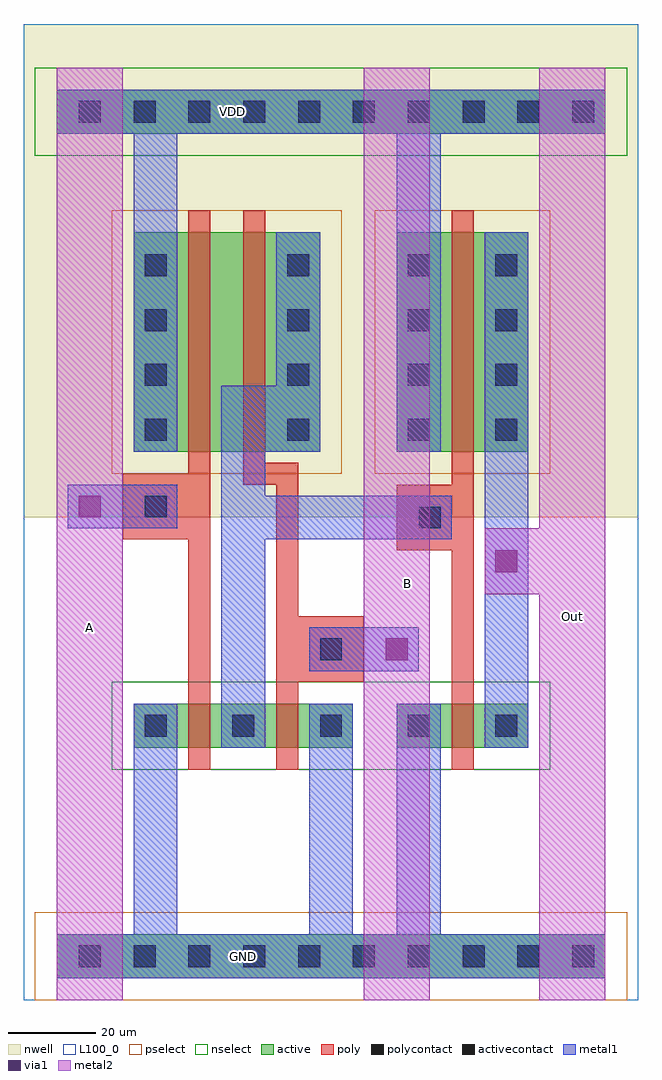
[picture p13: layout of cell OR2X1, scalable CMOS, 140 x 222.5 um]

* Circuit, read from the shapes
.subckt OR2X1 A B GND Out VDD
M1 n1 A GND GND nfet w=10u l=5u
M2 GND B n1 GND nfet w=10u l=5u
M3 Out n1 GND GND nfet w=10u l=5u
M4 n2 A VDD VDD pfet w=50u l=5u
M5 n1 B n2 VDD pfet w=50u l=5u
M6 Out n1 VDD VDD pfet w=50u l=5u
.ends

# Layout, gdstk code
import gdstk
lib = gdstk.Library(unit=1e-6, precision=1e-09)
def R(c, l, rs):  # rectangles x0, y0, x1, y1
    for r in rs: c.add(gdstk.rectangle(r[:2], r[2:], *l))
def A(c, l, x, y, w, h, nx, ny, dx, dy):  # array of equal rectangles
    R(c, l, [(x+i*dx, y+j*dy, x+i*dx+w, y+j*dy+h) for i in range(nx) for j in range(ny)])
nwell = (42, 0)
active = (43, 0)
pselect = (44, 0)
nselect = (45, 0)
poly = (46, 0)
polycontact = (47, 0)
activecontact = (48, 0)
metal1 = (49, 0)
via1 = (50, 0)
metal2 = (51, 0)
L100_0 = (100, 0)

or2x1 = lib.new_cell('OR2X1')
R(or2x1, nwell, [(0,110,140,222.5), (7.5,112.5,132.5,190), (0,190,140,215), (7.5,215,132.5,222.5)])
R(or2x1, active, [(7.5,5,132.5,15), (25,57.5,75,67.5), (85,57.5,115,67.5), (25,125,67.5,175), (85,125,115,175), (7.5,197.5,132.5,207.5)])
R(or2x1, pselect, [(2.5,0,137.5,20), (20,120,72.5,180), (80,120,120,180)])
R(or2x1, nselect, [(20,52.5,120,72.5), (2.5,192.5,137.5,212.5)])
R(or2x1, poly, [(37.5,52.5,42.5,105), (57.5,52.5,62.5,72.5), (97.5,52.5,102.5,102.5), (57.5,72.5,77.5,87.5), (57.5,87.5,62.5,117.5), (85,102.5,102.5,117.5), (22.5,105,42.5,120), (50,117.5,62.5,122.5), (97.5,117.5,102.5,180), (37.5,120,42.5,180), (50,122.5,55,180)])
R(or2x1, polycontact, [(67.5,77.5,72.5,82.5), (90,107.5,95,112.5), (27.5,110,32.5,115)])
A(or2x1, activecontact, 12.5, 7.5, 5, 5, 10, 2, 12.5, 192.5)
A(or2x1, activecontact, 27.5, 60, 5, 5, 5, 1, 20, 0)
A(or2x1, activecontact, 27.5, 127.5, 5, 5, 1, 4, 0, 12.5)
A(or2x1, activecontact, 60, 127.5, 5, 5, 1, 4, 0, 12.5)
A(or2x1, activecontact, 87.5, 127.5, 5, 5, 1, 4, 0, 12.5)
A(or2x1, activecontact, 107.5, 127.5, 5, 5, 1, 4, 0, 12.5)
R(or2x1, metal1, [(7.5,5,132.5,15), (25,15,35,67.5), (65,15,75,67.5), (85,15,95,67.5), (45,57.5,55,105), (105,57.5,115,175), (65,75,90,85), (45,105,97.5,115), (10,107.5,35,117.5), (45,115,55,125), (25,125,35,197.5), (45,125,67.5,140), (85,125,95,197.5), (57.5,140,67.5,175), (7.5,197.5,132.5,207.5)])
R(or2x1, via1, [(82.5,77.5,87.5,82.5), (107.5,97.5,112.5,102.5), (12.5,110,17.5,115)])
R(or2x1, metal2, [(7.5,0,22.5,212.5), (77.5,0,92.5,212.5), (117.5,0,132.5,92.5), (105,92.5,132.5,107.5), (117.5,107.5,132.5,212.5)])
R(or2x1, L100_0, [(0,0,140,222.5)])
or2x1.add(gdstk.Label('VDD', (47.5,202.5), layer=49, texttype=1))
or2x1.add(gdstk.Label('GND', (50,10), layer=49, texttype=1))
or2x1.add(gdstk.Label('A', (15,85), layer=51, texttype=1))
or2x1.add(gdstk.Label('B', (87.5,95), layer=51, texttype=1))
or2x1.add(gdstk.Label('Out', (125,87.5), layer=51, texttype=1))

lib.write_gds('OR2X1.gds')
